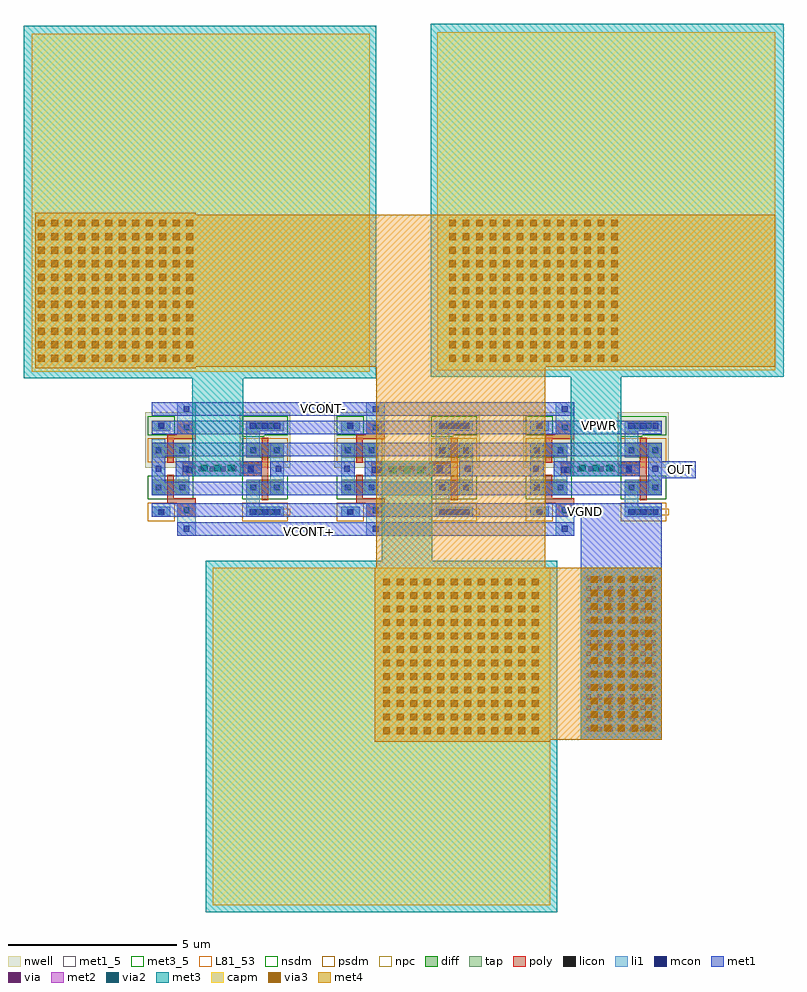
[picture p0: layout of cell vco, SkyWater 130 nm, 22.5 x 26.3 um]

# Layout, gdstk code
import gdstk
lib = gdstk.Library(unit=1e-6, precision=1e-09)
def R(c, l, rs):  # rectangles x0, y0, x1, y1
    for r in rs: c.add(gdstk.rectangle(r[:2], r[2:], *l))
def A(c, l, x, y, w, h, nx, ny, dx, dy):  # array of equal rectangles
    R(c, l, [(x+i*dx, y+j*dy, x+i*dx+w, y+j*dy+h) for i in range(nx) for j in range(ny)])
nwell = (64, 20)
diff = (65, 20)
tap = (65, 44)
poly = (66, 20)
licon = (66, 44)
li1 = (67, 20)
mcon = (67, 44)
met1_5 = (68, 5)
met1 = (68, 20)
via = (68, 44)
met2 = (69, 20)
via2 = (69, 44)
met3_5 = (70, 5)
met3 = (70, 20)
via3 = (70, 44)
met4 = (71, 20)
L81_53 = (81, 53)
capm = (89, 44)
nsdm = (93, 44)
psdm = (94, 20)
npc = (95, 20)

vco = lib.new_cell('vco')
A(vco, nwell, 0.6, 4.6, 1.5, 1.65, 6, 1, 2.8, 0)
A(vco, diff, 0.8, 3.8, 1.1, 0.45, 6, 2, 2.8, 1.1)
A(vco, tap, 0.8, 3.15, 0.55, 0.3, 3, 2, 5.6, 2.55)
A(vco, tap, 3.6, 3.15, 1.1, 0.3, 3, 2, 5.6, 2.55)
A(vco, tap, 3.6, 5.65, 0.4, 0.05, 3, 1, 5.6, 0)
A(vco, poly, 1.55, 3.15, 0.55, 0.4, 3, 2, 5.6, 2.45)
A(vco, poly, 1.25, 3.55, 0.85, 0.15, 3, 2, 5.6, 1.9)
A(vco, poly, 4.05, 3.65, 0.2, 0.7, 3, 1, 5.6, 0)
A(vco, poly, 1.25, 3.7, 0.2, 0.7, 3, 2, 5.6, 1.05)
A(vco, poly, 1.7, 4.35, 0.4, 0.4, 3, 1, 5.6, 0)
A(vco, poly, 3.4, 4.35, 0.85, 0.4, 3, 1, 5.6, 0)
A(vco, poly, 4.05, 4.75, 0.2, 0.75, 3, 1, 5.6, 0)
A(vco, licon, 1.74, 3.265, 0.17, 0.17, 3, 2, 5.6, 2.45)
R(vco, licon, [(0.99,3.215,1.16,3.385), (3.895,3.215,4.065,3.385), (4.235,3.215,4.405,3.385), (6.59,3.215,6.76,3.385), (9.495,3.215,9.665,3.385), (9.835,3.215,10.005,3.385), (12.19,3.215,12.36,3.385), (15.095,3.215,15.265,3.385), (15.435,3.215,15.605,3.385), (0.915,3.94,1.085,4.11), (1.615,3.94,1.785,4.11), (3.715,3.94,3.885,4.11), (4.415,3.94,4.585,4.11), (6.515,3.94,6.685,4.11), (7.215,3.94,7.385,4.11), (9.315,3.94,9.485,4.11), (10.015,3.94,10.185,4.11), (12.115,3.94,12.285,4.11), (12.815,3.94,12.985,4.11), (14.915,3.94,15.085,4.11), (15.615,3.94,15.785,4.11), (1.815,4.465,1.985,4.635), (3.64,4.465,3.81,4.635), (7.415,4.465,7.585,4.635), (9.24,4.465,9.41,4.635), (13.015,4.465,13.185,4.635), (14.84,4.465,15.01,4.635), (0.915,5.04,1.085,5.21), (1.615,5.04,1.785,5.21), (3.715,5.04,3.885,5.21), (4.415,5.04,4.585,5.21), (6.515,5.04,6.685,5.21), (7.215,5.04,7.385,5.21), (9.315,5.04,9.485,5.21), (10.015,5.04,10.185,5.21), (12.115,5.04,12.285,5.21), (12.815,5.04,12.985,5.21), (14.915,5.04,15.085,5.21), (15.615,5.04,15.785,5.21), (0.99,5.765,1.16,5.935), (3.895,5.765,4.065,5.935), (4.235,5.765,4.405,5.935), (6.59,5.765,6.76,5.935), (9.495,5.765,9.665,5.935), (9.835,5.765,10.005,5.935), (12.19,5.765,12.36,5.935), (15.095,5.765,15.265,5.935), (15.435,5.765,15.605,5.935)])
A(vco, li1, 1.55, 2.6, 0.55, 0.95, 3, 2, 5.6, 3)
A(vco, li1, 0.8, 3.15, 0.55, 0.3, 3, 2, 5.6, 2.55)
A(vco, li1, 3.6, 3.15, 1.1, 0.3, 3, 2, 5.6, 2.55)
A(vco, li1, 3.6, 3.45, 0.4, 0.8, 3, 2, 5.6, 1.45)
A(vco, li1, 1.5, 3.8, 0.4, 0.55, 3, 1, 5.6, 0)
A(vco, li1, 1.5, 4.35, 0.6, 0.4, 3, 1, 5.6, 0)
A(vco, li1, 3.4, 4.45, 0.65, 0.25, 3, 1, 5.6, 0)
A(vco, li1, 1.5, 4.75, 0.4, 0.6, 3, 1, 5.6, 0)
R(vco, li1, [(0.8,3.8,1.2,5.45), (4.3,3.8,4.7,5.35), (6.4,3.8,6.8,5.35), (9.9,3.8,10.3,5.35), (12,3.8,12.4,5.35), (15.5,3.8,15.9,5.35), (6.4,5.6,6.8,5.7), (12,5.6,12.4,5.7)])
A(vco, mcon, 1.74, 2.715, 0.17, 0.17, 3, 2, 5.6, 3.55)
A(vco, mcon, 3.705, 3.215, 0.17, 0.17, 3, 2, 0.36, 2.55)
A(vco, mcon, 9.305, 3.215, 0.17, 0.17, 3, 2, 0.36, 2.55)
A(vco, mcon, 14.905, 3.215, 0.17, 0.17, 3, 2, 0.36, 2.55)
R(vco, mcon, [(0.99,3.215,1.16,3.385), (6.59,3.215,6.76,3.385), (12.19,3.215,12.36,3.385), (7.315,4.465,7.485,4.635), (12.915,4.465,13.085,4.635), (0.915,4.49,1.085,4.66), (1.715,4.49,1.885,4.66), (3.64,4.49,3.81,4.66), (4.465,4.49,4.635,4.66), (6.49,4.49,6.66,4.66), (9.24,4.49,9.41,4.66), (10.065,4.49,10.235,4.66), (12.09,4.49,12.26,4.66), (14.84,4.49,15.01,4.66), (15.615,4.49,15.785,4.66), (0.99,5.765,1.16,5.935), (6.59,5.765,6.76,5.935), (12.19,5.765,12.36,5.935)])
R(vco, met1_5, [(5.45,2.7,5.5,2.75), (13.6,3.25,13.7,3.35), (16.4,4.5,16.5,4.6), (5.8,6.3,5.9,6.4)])
A(vco, met1, 1.5, 4.35, 2.55, 0.45, 3, 1, 5.6, 0)
R(vco, met1, [(13.5,-3.45,15.9,3.15), (1.55,2.6,13.3,3), (0.8,3.15,15.9,3.55), (0.8,3.8,15.9,4.2), (0.8,4.2,1.2,4.95), (15.5,4.2,15.9,4.3), (15.5,4.3,16.9,4.8), (4.3,4.35,6.8,4.8), (9.9,4.35,12.4,4.8), (15.5,4.8,15.9,4.95), (0.8,4.95,15.9,5.35), (0.8,5.6,15.9,6), (0.8,6.15,13.3,6.55)])
A(vco, via, 13.665, -3.215, 0.15, 0.15, 7, 15, 0.32, 0.32)
A(vco, via, 2.195, 4.5, 0.15, 0.15, 4, 1, 0.32, 0)
A(vco, via, 7.795, 4.5, 0.15, 0.15, 4, 1, 0.32, 0)
A(vco, via, 13.395, 4.5, 0.15, 0.15, 4, 1, 0.32, 0)
A(vco, met2, 2, 4.35, 1.5, 0.45, 3, 1, 5.6, 0)
R(vco, met2, [(13.5,-3.45,15.9,1.65)])
A(vco, via2, 13.8, -3.2, 0.2, 0.2, 5, 12, 0.4, 0.4)
A(vco, via2, 7.85, 4.45, 0.2, 0.2, 3, 1, 0.4, 0)
A(vco, via2, 2.25, 4.5, 0.2, 0.2, 3, 1, 0.4, 0)
A(vco, via2, 13.45, 4.5, 0.2, 0.2, 3, 1, 0.4, 0)
R(vco, met3_5, [(14,5.8,14.1,5.9)])
R(vco, met3, [(2.4,-8.55,12.8,1.85), (13.5,-3.45,15.9,1.65), (7.6,1.85,9.1,4.8), (2,4.35,3.5,7.25), (13.2,4.35,14.7,7.3), (-3,7.25,7.45,17.7), (9.05,7.3,19.5,17.75)])
A(vco, via3, 7.65, -3.275, 0.2, 0.2, 12, 12, 0.4, 0.4)
A(vco, via3, 13.8, -3.2, 0.2, 0.2, 5, 12, 0.4, 0.4)
A(vco, via3, -2.575, 7.75, 0.2, 0.2, 12, 11, 0.4, 0.4)
A(vco, via3, 9.6, 7.75, 0.2, 0.2, 13, 11, 0.4, 0.4)
R(vco, met4, [(7.4,-3.5,12.6,-3.45), (7.4,-3.45,15.9,1.65), (7.45,1.65,12.45,7.6), (-2.65,7.55,2.1,7.6), (-2.65,7.6,19.25,12.1), (-2.65,12.1,2.1,12.15)])
A(vco, L81_53, 4.7, 3.2, 0.2, 0.05, 3, 1, 5.6, 0)
A(vco, L81_53, 4, 3.25, 0.05, 0.2, 3, 1, 5.6, 0)
A(vco, L81_53, 4.2, 3.25, 0.7, 0.15, 3, 1, 5.6, 0)
A(vco, L81_53, 4.2, 3.4, 0.5, 0.05, 3, 1, 5.6, 0)
R(vco, L81_53, [(1.9,3.15,2.1,3.35), (7.15,3.15,7.7,3.55), (12.75,3.15,13.3,3.55)])
R(vco, capm, [(2.6,-8.35,12.6,1.65), (-2.75,7.45,7.25,17.45), (9.25,7.5,19.25,17.5)])
A(vco, nsdm, 0.675, 3.675, 1.35, 0.7, 6, 1, 2.8, 0)
A(vco, nsdm, 3.475, 5.525, 0.65, 0.05, 3, 1, 5.6, 0)
A(vco, nsdm, 0.675, 5.575, 0.8, 0.55, 3, 1, 5.6, 0)
A(vco, nsdm, 3.475, 5.575, 1.35, 0.55, 3, 1, 5.6, 0)
A(vco, psdm, 0.675, 3.025, 0.8, 0.55, 3, 1, 5.6, 0)
A(vco, psdm, 3.475, 3.025, 1.35, 0.55, 3, 1, 5.6, 0)
A(vco, psdm, 0.675, 4.775, 1.35, 0.7, 6, 1, 2.8, 0)
A(vco, npc, 1.64, 3.165, 0.37, 0.37, 3, 2, 5.6, 2.45)
R(vco, npc, [(1.715,4.365,2.085,4.735), (3.54,4.365,3.91,4.735), (7.315,4.365,7.685,4.735), (9.14,4.365,9.51,4.735), (12.915,4.365,13.285,4.735), (14.74,4.365,15.11,4.735)])
vco.add(gdstk.Label('VPWR', (14.05,5.85), layer=70, texttype=5))
vco.add(gdstk.Label('VCONT-', (5.85,6.35), layer=68, texttype=5))
vco.add(gdstk.Label('OUT', (16.45,4.55), layer=68, texttype=5))
vco.add(gdstk.Label('VCONT+', (5.475,2.725), layer=68, texttype=5))
vco.add(gdstk.Label('VGND', (13.65,3.3), layer=68, texttype=5))

lib.write_gds('vco.gds')
